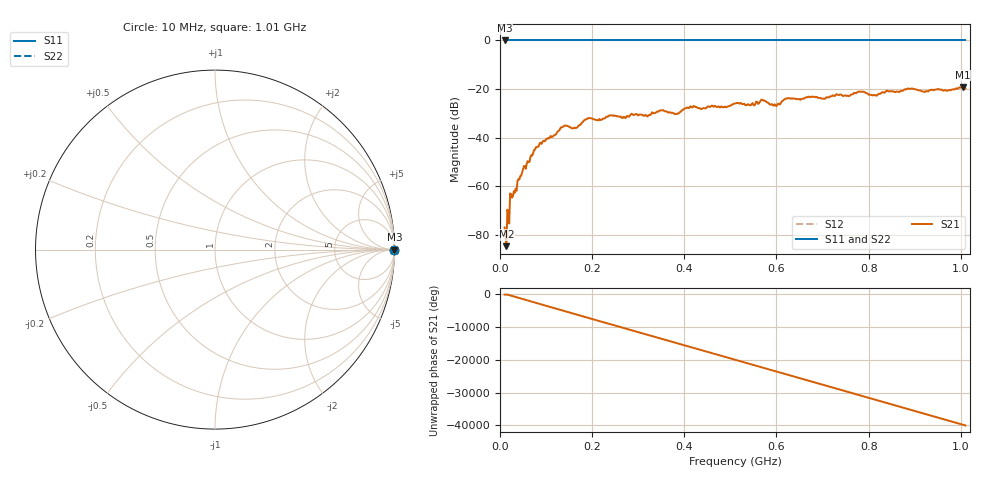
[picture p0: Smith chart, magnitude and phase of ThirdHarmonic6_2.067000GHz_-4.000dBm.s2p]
! 8/17/2025 12:45:39 AM
! C:\ANRITSUVNA\TEMP\TEMP.S2P
! CHANNEL.1
! TR.MEASUREMENT
! RAW.DATA
! RF.CORRECTION.OFF
! AVERAGING.OFF
! IF.BANDWIDTH: 5KHZ
! SWEEPTYPE:  FREQ.SWEEP(Linear)
! Reference Plane Port Info
! PORT:  PORT1  PORT2
! DISTANCE:  0  m  0  m
! TIME:  0  s  0  s
! PHASE.OFFSET:  0  deg.  0  deg.
! LOSS:  0  dB  0  dB
! REF.LOSS:  0  dB  0  dB
! REF.FREQ:  0  Hz  0  Hz
! Power Info
! POWER:  -20  dBm  -20  dBm
! EFF.POWER:  -20  dBm  -20  dBm
! SOURCE.ATTEN:  0  dB  0  dB
! TEST.ATTEN:  0  dB  0  dB
# GHZ S RI R 50.0
! FREQ.GHZ  S11RE  S11IM  S21RE  S21IM  S12RE  S12IM  S22RE  S22IM
!; PortSelection: Port_12
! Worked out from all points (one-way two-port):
!   501 points, 10 MHz to 1.01 GHz, reference 50 ohm
!   highest |S21| = -19.10 dB at 1.004 GHz (marker M1); lowest = -84.6 dB at 14 MHz (marker M2)
!   lowest |S11| = 0.0 dB at 10 MHz (marker M3)
!   |S11| at or under -10 dB: nowhere
!   |S22| runs from 0.0 to 0.0 dB; largest |S21 - S12| = 1.1
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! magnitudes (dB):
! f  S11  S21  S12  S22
! 10 MHz  0.0  -76.9  0.0  0.0
! 14 MHz  0.0  -84.6  0.0  0.0
! 16 MHz  0.0  -69.6  0.0  0.0
! 20 MHz  0.0  -75.3  0.0  0.0
! 26 MHz  0.0  -64.7  0.0  0.0
! 78 MHz  0.0  -43.9  0.0  0.0
! 136 MHz  0.0  -35.5  0.0  0.0
! 162 MHz  0.0  -35.8  0.0  0.0
! 178 MHz  0.0  -33.8  0.0  0.0
! 194 MHz  0.0  -32.0  0.0  0.0
! 322 MHz  0.0  -30.9  0.0  0.0
! 344 MHz  0.0  -29.3  0.0  0.0
! 382 MHz  0.0  -30.3  0.0  0.0
! 416 MHz  0.0  -27.5  0.0  0.0
! 510 MHz  0.0  -25.9  0.0  0.0
! 570 MHz  0.0  -24.5  0.0  0.0
! 596 MHz  0.0  -26.3  0.0  0.0
! 622 MHz  0.0  -23.9  0.0  0.0
! 678 MHz  0.0  -23.2  0.0  0.0
! 844 MHz  0.0  -21.0  0.0  0.0
! 1.004 GHz  0.0  -19.1  0.0  0.0
! 1.01 GHz  0.0  -19.7  0.0  0.0
